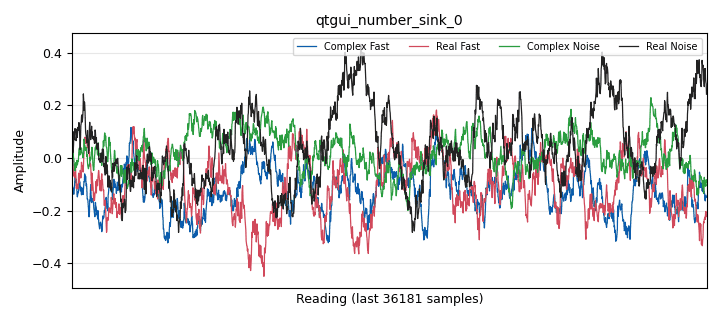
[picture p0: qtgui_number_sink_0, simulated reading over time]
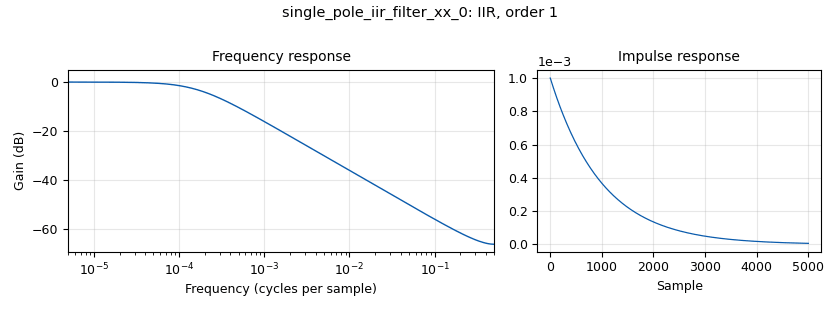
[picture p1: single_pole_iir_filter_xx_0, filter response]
options:
  parameters:
    category: Custom
    description: Adapted from GNU Radio's own example (gr-analog/examples/noise_power.grc).
    generate_options: qt_gui
    id: noise_power
    output_language: python
    title: Noise Power Measurement
  states: {}

blocks:
- name: noise
  id: variable_qtgui_range
  parameters:
    label: Noise Amplitude
    start: '0'
    step: '0.1'
    stop: '10'
    value: '1'
  states: {}
- name: samp_rate
  id: variable
  parameters:
    value: '32000'
  states: {}
- name: analog_fastnoise_source_x_0
  id: analog_fastnoise_source_x
  parameters:
    amp: noise
    noise_type: analog.GR_GAUSSIAN
    samples: '8192'
    seed: '0'
    type: complex
  states: {}
- name: analog_fastnoise_source_x_1
  id: analog_fastnoise_source_x
  parameters:
    amp: noise
    noise_type: analog.GR_GAUSSIAN
    samples: '8192'
    seed: '0'
    type: float
  states: {}
- name: analog_noise_source_x_0
  id: analog_noise_source_x
  parameters:
    noise_type: analog.GR_GAUSSIAN
    seed: '0'
    type: complex
    amplitude: noise
  states: {}
- name: analog_noise_source_x_1
  id: analog_noise_source_x
  parameters:
    noise_type: analog.GR_GAUSSIAN
    seed: '0'
    type: float
    amplitude: noise
  states: {}
- name: blocks_abs_xx_0
  id: blocks_abs_xx
  parameters:
    type: float
  states: {}
- name: blocks_abs_xx_0_0
  id: blocks_abs_xx
  parameters:
    type: float
  states: {}
- name: blocks_complex_to_mag_squared_1
  id: blocks_complex_to_mag_squared
  parameters: {}
  states: {}
- name: blocks_complex_to_mag_squared_2
  id: blocks_complex_to_mag_squared
  parameters: {}
  states: {}
- name: blocks_multiply_xx_0
  id: blocks_multiply_xx
  parameters:
    type: float
  states: {}
- name: blocks_multiply_xx_0_0
  id: blocks_multiply_xx
  parameters:
    type: float
  states: {}
- name: blocks_nlog10_ff_0
  id: blocks_nlog10_ff
  parameters:
    k: '0'
    n: '10'
  states: {}
- name: blocks_nlog10_ff_0_0
  id: blocks_nlog10_ff
  parameters:
    k: '0'
    n: '10'
  states: {}
- name: blocks_nlog10_ff_0_1
  id: blocks_nlog10_ff
  parameters:
    k: '0'
    n: '10'
  states: {}
- name: blocks_nlog10_ff_0_2
  id: blocks_nlog10_ff
  parameters:
    k: '0'
    n: '10'
  states: {}
- name: blocks_throttle2_0
  id: blocks_throttle2
  parameters:
    samples_per_second: samp_rate
    type: complex
  states: {}
- name: blocks_throttle2_0_0
  id: blocks_throttle2
  parameters:
    samples_per_second: samp_rate
    type: complex
  states: {}
- name: blocks_throttle2_0_0_0
  id: blocks_throttle2
  parameters:
    samples_per_second: samp_rate
    type: float
  states: {}
- name: blocks_throttle2_0_0_1
  id: blocks_throttle2
  parameters:
    samples_per_second: samp_rate
    type: float
  states: {}
- name: qtgui_number_sink_0
  id: qtgui_number_sink
  parameters:
    avg: '0.01'
    graph_type: qtgui.NUM_GRAPH_NONE
    label1: Complex Fast
    label2: Real Fast
    label3: Complex Noise
    label4: Real Noise
    nconnections: '4'
    type: float
  states: {}
- name: single_pole_iir_filter_xx_0
  id: single_pole_iir_filter_xx
  parameters:
    alpha: '0.001'
    type: float
  states: {}
- name: single_pole_iir_filter_xx_0_0
  id: single_pole_iir_filter_xx
  parameters:
    alpha: '0.001'
    type: float
  states: {}
- name: single_pole_iir_filter_xx_0_1
  id: single_pole_iir_filter_xx
  parameters:
    alpha: '0.001'
    type: float
  states: {}
- name: single_pole_iir_filter_xx_0_2
  id: single_pole_iir_filter_xx
  parameters:
    alpha: '0.001'
    type: float
  states: {}

connections:
- [analog_fastnoise_source_x_0, '0', blocks_throttle2_0, '0']
- [analog_fastnoise_source_x_1, '0', blocks_throttle2_0_0_0, '0']
- [analog_noise_source_x_0, '0', blocks_throttle2_0_0, '0']
- [analog_noise_source_x_1, '0', blocks_throttle2_0_0_1, '0']
- [blocks_abs_xx_0, '0', blocks_multiply_xx_0, '0']
- [blocks_abs_xx_0, '0', blocks_multiply_xx_0, '1']
- [blocks_abs_xx_0_0, '0', blocks_multiply_xx_0_0, '0']
- [blocks_abs_xx_0_0, '0', blocks_multiply_xx_0_0, '1']
- [blocks_complex_to_mag_squared_1, '0', single_pole_iir_filter_xx_0_1, '0']
- [blocks_complex_to_mag_squared_2, '0', single_pole_iir_filter_xx_0, '0']
- [blocks_multiply_xx_0, '0', single_pole_iir_filter_xx_0_2, '0']
- [blocks_multiply_xx_0_0, '0', single_pole_iir_filter_xx_0_0, '0']
- [blocks_nlog10_ff_0, '0', qtgui_number_sink_0, '0']
- [blocks_nlog10_ff_0_0, '0', qtgui_number_sink_0, '1']
- [blocks_nlog10_ff_0_1, '0', qtgui_number_sink_0, '2']
- [blocks_nlog10_ff_0_2, '0', qtgui_number_sink_0, '3']
- [blocks_throttle2_0, '0', blocks_complex_to_mag_squared_2, '0']
- [blocks_throttle2_0_0, '0', blocks_complex_to_mag_squared_1, '0']
- [blocks_throttle2_0_0_0, '0', blocks_abs_xx_0_0, '0']
- [blocks_throttle2_0_0_1, '0', blocks_abs_xx_0, '0']
- [single_pole_iir_filter_xx_0, '0', blocks_nlog10_ff_0, '0']
- [single_pole_iir_filter_xx_0_0, '0', blocks_nlog10_ff_0_0, '0']
- [single_pole_iir_filter_xx_0_1, '0', blocks_nlog10_ff_0_1, '0']
- [single_pole_iir_filter_xx_0_2, '0', blocks_nlog10_ff_0_2, '0']

metadata:
  file_format: 1
  grc_version: 3.10.10.0
